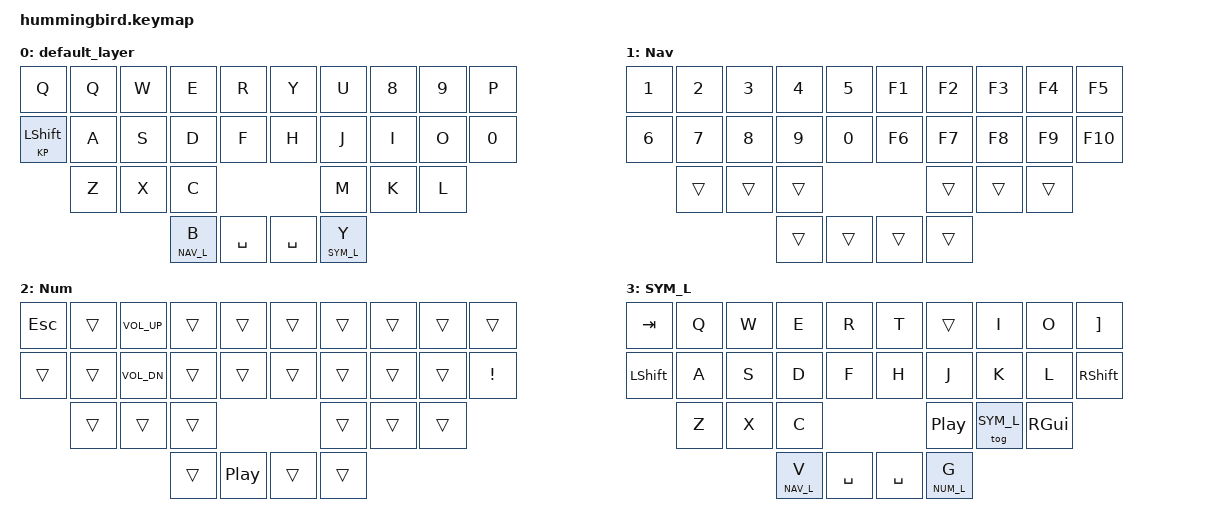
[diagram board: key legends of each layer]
/*
 * Copyright (c) 2022 The ZMK Contributors
 *
 * SPDX-License-Identifier: MIT
 */

#include <behaviors.dtsi>
#include <dt-bindings/zmk/keys.h>

#define DEF_L 0
#define NAV_L 1
#define NUM_L 2
#define SYM_L 3

// Using layer taps on thumbs, having quick tap as well helps w/ repeating space/backspace
&lt { quick_tap_ms = <200>; };

/ {
    behaviors {
        hm: homerow_mods {
            compatible = "zmk,behavior-hold-tap";
            label = "homerow mods";
            #binding-cells = <2>;
            tapping_term_ms = <225>;
            flavor = "tap-preferred";
            bindings = <&kp>, <&kp>;
        };
    };

    combos {
        compatible = "zmk,combos";
        combo_z {
            timeout-ms = <50>;
            key-positions = <20 21>;
            bindings = <&kp Z>;
        };
        combo_b {
            timeout-ms = <50>;
            key-positions = <4 14>;
            bindings = <&kp B>;
        };

        combo_y {
            timeout-ms = <50>;
            key-positions = <5 15>;
            bindings = <&kp Y>;
        };

        combo_slash {
            timeout-ms = <50>;
            key-positions = <7 8>;
            bindings = <&kp ENTER>;
        };
        
        combo_sym {
            timeout-ms = <50>;
            key-positions = <26 29>;
            bindings = <&tog SYM_L>;
        };
    };

    keymap {
        compatible = "zmk,keymap";

        default_layer {
            bindings = <
                &kp Q      &kp Q      &kp W       &kp E           &kp R        &kp Y            &kp U          &kp 8       &kp 9      &kp P
              &KP LSHFT    &kp A      &kp S       &kp D           &kp F        &kp H            &kp J          &kp I       &kp O      &kp 0
                           &kp Z      &kp X       &kp C                                         &kp M          &kp K       &kp L
                                                &lt NAV_L B     &kp SPACE    &kp SPACE       &lt SYM_L Y
            >;
        };

        nav_layer {
            label = "Nav";
            bindings = <
                &kp N1     &kp N2     &kp N3      &kp N4      &kp N5           &kp F1      &kp F2     &kp F3   &kp F4   &kp F5
                &kp N6     &kp N7     &kp N8      &kp N9      &kp N0           &kp F6      &kp F7     &kp F8   &kp F9   &kp F10
                           &trans     &trans      &trans                                   &trans     &trans   &trans
                                                  &trans      &trans           &trans      &trans
            >;
        };

        num_layer {
            label = "Num";
            bindings = <
                &kp ESC    &trans     &kp C_VOL_UP   &trans       &trans             &trans       &trans       &trans      &trans     &trans
                &trans     &trans     &kp C_VOL_DN   &trans       &trans             &trans       &trans       &trans      &trans     &kp EXCL
                           &trans     &trans      &trans                                       &trans       &trans      &trans
                                                  &trans       &kp C_PLAY_PAUSE              &trans       &trans
            >;
        };

        sym_layer {
            label = "SYM_L";
            bindings = <
                &kp TAB    &kp Q      &kp W       &kp E           &kp R            &kp T          &trans          &kp I       &kp O     &kp RBKT
                &kp LSHFT  &kp A      &kp S       &kp D           &kp F            &kp H          &kp J           &kp K       &kp L     &kp RSHFT
                           &kp Z      &kp X       &kp C                                       &kp C_PLAY_PAUSE    &tog SYM_L   &kp RGUI
                                                  &lt NAV_L V     &kp SPACE       &kp SPACE      &lt NUM_L G
            >;
        };
    };
};
